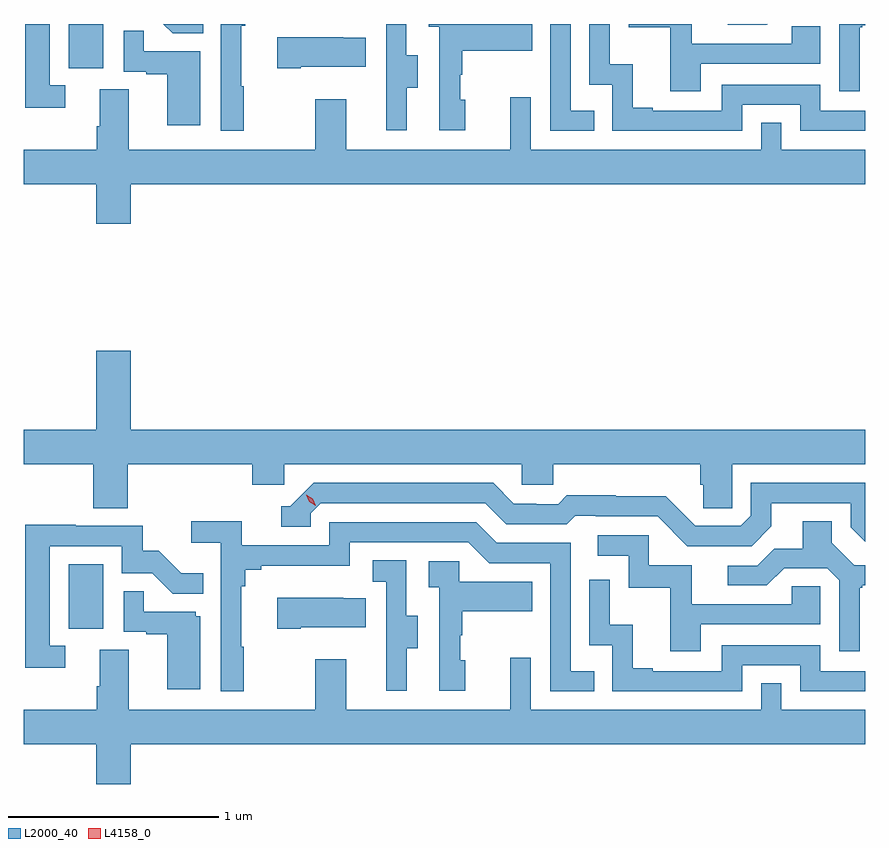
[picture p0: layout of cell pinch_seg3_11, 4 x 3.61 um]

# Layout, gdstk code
import gdstk
lib = gdstk.Library(unit=1e-6, precision=1e-09)
def R(c, l, rs):  # rectangles x0, y0, x1, y1
    for r in rs: c.add(gdstk.rectangle(r[:2], r[2:], *l))
def P(c, l, *ps):  # polygons
    for p in ps: c.add(gdstk.Polygon(p, *l))
L2000_40 = (2000, 40)
L4158_0 = (4158, 0)

pinch_seg3_11 = lib.new_cell('pinch_seg3_11')
R(pinch_seg3_11, L2000_40, [(1141.898,740.094,1142.062,740.401), (1141.898,742.758,1142.062,742.969)])
P(pinch_seg3_11, L2000_40, [(1145.1,742.584),(1145.376,742.584),(1145.376,742.461),(1145.685,742.461),(1145.685,742.557),(1145.472,742.557),(1145.472,742.68),(1145.004,742.68),(1145.004,742.557),(1144.675,742.557),(1144.675,742.57),(1144.58,742.57),(1144.58,742.778),(1144.47,742.778),(1144.47,742.969),(1144.374,742.969),(1144.374,742.68),(1144.482,742.68),(1144.482,742.461),(1145.1,742.461)],
  [(1145.222,742.969),(1145.031,742.969),(1145.031,742.965),(1145.218,742.965)],
  [(1145.659,742.953),(1145.671,742.953),(1145.671,742.964),(1145.685,742.964),(1145.685,742.969),(1145.562,742.969),(1145.562,742.65),(1145.659,742.65)],
  [(1143.784,742.608),(1143.759,742.608),(1143.759,742.727),(1143.769,742.727),(1143.769,742.841),(1144.103,742.841),(1144.103,742.969),(1143.609,742.969),(1143.609,742.955),(1143.66,742.955),(1143.66,742.464),(1143.784,742.464)],
  [(1143.505,742.666),(1143.559,742.666),(1143.559,742.821),(1143.504,742.821),(1143.504,742.969),(1143.408,742.969),(1143.408,742.677),(1143.407,742.677),(1143.407,742.464),(1143.505,742.464)],
  [(1144.903,742.779),(1145.472,742.779),(1145.472,742.959),(1145.335,742.959),(1145.335,742.875),(1144.861,742.875),(1144.861,742.969),(1144.56,742.969),(1144.56,742.953),(1144.759,742.953),(1144.759,742.65),(1144.903,742.65)],
  [(1142.537,742.969),(1142.348,742.969),(1142.393,742.924),(1142.537,742.924)],
  [(1141.882,742.677),(1141.809,742.677),(1141.809,742.969),(1141.693,742.969),(1141.693,742.572),(1141.882,742.572)],
  [(1144.397,742.557),(1144.284,742.557),(1144.284,742.969),(1144.188,742.969),(1144.188,742.461),(1144.397,742.461)],
  [(1142.731,742.673),(1142.719,742.673),(1142.719,742.961),(1142.738,742.961),(1142.738,742.969),(1142.622,742.969),(1142.622,742.461),(1142.731,742.461)],
  [(1142.524,742.839),(1142.255,742.839),(1142.255,742.937),(1142.16,742.937),(1142.16,742.743),(1142.267,742.743),(1142.267,742.731),(1142.366,742.731),(1142.366,742.488),(1142.524,742.488)],
  [(1143.001,742.766),(1143.311,742.766),(1143.311,742.903),(1143.203,742.903),(1143.203,742.906),(1142.889,742.906),(1142.889,742.759),(1143.001,742.759)],
  [(1142.194,742.208),(1145.685,742.208),(1145.685,742.372),(1145.286,742.372),(1145.286,742.499),(1145.19,742.499),(1145.19,742.372),(1144.095,742.372),(1144.095,742.621),(1143.998,742.621),(1143.998,742.372),(1143.217,742.372),(1143.217,742.612),(1143.07,742.612),(1143.07,742.372),(1142.185,742.372),(1142.185,742.658),(1142.045,742.658),(1142.045,742.484),(1142.033,742.484),(1142.033,742.372),(1141.685,742.372),(1141.685,742.208),(1142.03,742.208),(1142.03,742.02),(1142.194,742.02)],
  [(1142.18,740.876),(1142.771,740.876),(1142.771,740.778),(1142.922,740.778),(1142.922,740.876),(1144.053,740.876),(1144.053,740.778),(1144.203,740.778),(1144.203,740.876),(1144.901,740.876),(1144.901,740.778),(1144.915,740.778),(1144.915,740.668),(1145.052,740.668),(1145.052,740.876),(1145.685,740.876),(1145.685,741.04),(1142.194,741.04),(1142.194,741.415),(1142.03,741.415),(1142.03,741.04),(1141.685,741.04),(1141.685,740.876),(1142.015,740.876),(1142.015,740.668),(1142.18,740.668)],
  [(1145.239,740.581),(1145.239,740.691),(1145.616,740.691),(1145.616,740.577),(1145.685,740.508),(1145.685,740.787),(1145.142,740.787),(1145.142,740.631),(1145.094,740.583),(1144.878,740.583),(1144.736,740.725),(1144.5,740.725),(1144.5,740.728),(1144.267,740.728),(1144.225,740.685),(1144.122,740.685),(1144.122,740.688),(1144.015,740.688),(1143.916,740.787),(1143.063,740.787),(1142.952,740.676),(1142.909,740.676),(1142.909,740.58),(1143.048,740.58),(1143.048,740.643),(1143.096,740.691),(1143.879,740.691),(1143.978,740.592),(1144.267,740.592),(1144.306,740.631),(1144.405,740.631),(1144.405,740.628),(1144.698,740.628),(1144.839,740.487),(1145.145,740.487)],
  [(1145.659,740.289),(1145.671,740.289),(1145.671,740.3),(1145.685,740.3),(1145.685,740.397),(1145.634,740.397),(1145.527,740.504),(1145.527,740.606),(1145.387,740.606),(1145.387,740.474),(1145.252,740.474),(1145.172,740.394),(1145.031,740.394),(1145.031,740.301),(1145.218,740.301),(1145.299,740.382),(1145.505,740.382),(1145.562,740.325),(1145.562,739.986),(1145.659,739.986)],
  [(1142.731,740.009),(1142.719,740.009),(1142.719,740.297),(1142.738,740.297),(1142.738,740.374),(1142.815,740.374),(1142.815,740.393),(1143.234,740.393),(1143.234,740.505),(1143.798,740.505),(1143.897,740.406),(1144.188,740.406),(1144.188,739.797),(1144.397,739.797),(1144.397,739.893),(1144.284,739.893),(1144.284,740.502),(1143.934,740.502),(1143.835,740.601),(1143.138,740.601),(1143.138,740.49),(1142.72,740.49),(1142.72,740.606),(1142.481,740.606),(1142.481,740.504),(1142.622,740.504),(1142.622,739.797),(1142.731,739.797)],
  [(1141.882,740.013),(1141.809,740.013),(1141.809,740.487),(1142.151,740.487),(1142.151,740.358),(1142.295,740.358),(1142.393,740.26),(1142.537,740.26),(1142.537,740.359),(1142.433,740.359),(1142.326,740.466),(1142.25,740.466),(1142.25,740.583),(1141.931,740.583),(1141.931,740.588),(1141.693,740.588),(1141.693,739.908),(1141.882,739.908)],
  [(1144.903,740.115),(1145.472,740.115),(1145.472,740.295),(1145.335,740.295),(1145.335,740.211),(1144.861,740.211),(1144.861,740.397),(1144.656,740.397),(1144.656,740.538),(1144.413,740.538),(1144.413,740.442),(1144.56,740.442),(1144.56,740.289),(1144.759,740.289),(1144.759,739.986),(1144.903,739.986)],
  [(1143.505,740.002),(1143.559,740.002),(1143.559,740.157),(1143.504,740.157),(1143.504,740.42),(1143.345,740.42),(1143.345,740.317),(1143.408,740.317),(1143.408,740.013),(1143.407,740.013),(1143.407,739.8),(1143.505,739.8)],
  [(1143.784,739.944),(1143.759,739.944),(1143.759,740.063),(1143.769,740.063),(1143.769,740.177),(1144.103,740.177),(1144.103,740.317),(1143.756,740.317),(1143.756,740.415),(1143.609,740.415),(1143.609,740.291),(1143.66,740.291),(1143.66,739.8),(1143.784,739.8)],
  [(1145.1,739.92),(1145.376,739.92),(1145.376,739.797),(1145.685,739.797),(1145.685,739.893),(1145.472,739.893),(1145.472,740.016),(1145.004,740.016),(1145.004,739.893),(1144.675,739.893),(1144.675,739.906),(1144.58,739.906),(1144.58,740.114),(1144.47,740.114),(1144.47,740.326),(1144.374,740.326),(1144.374,740.016),(1144.482,740.016),(1144.482,739.797),(1145.1,739.797)],
  [(1142.524,740.154),(1142.502,740.154),(1142.502,740.175),(1142.255,740.175),(1142.255,740.273),(1142.16,740.273),(1142.16,740.079),(1142.267,740.079),(1142.267,740.067),(1142.366,740.067),(1142.366,739.806),(1142.524,739.806)],
  [(1143.001,740.102),(1143.311,740.102),(1143.311,740.239),(1143.203,740.239),(1143.203,740.242),(1142.889,740.242),(1142.889,740.095),(1143.001,740.095)],
  [(1142.194,739.544),(1145.685,739.544),(1145.685,739.708),(1145.286,739.708),(1145.286,739.835),(1145.19,739.835),(1145.19,739.708),(1144.095,739.708),(1144.095,739.957),(1143.998,739.957),(1143.998,739.708),(1143.217,739.708),(1143.217,739.948),(1143.07,739.948),(1143.07,739.708),(1142.185,739.708),(1142.185,739.994),(1142.045,739.994),(1142.045,739.82),(1142.033,739.82),(1142.033,739.708),(1141.685,739.708),(1141.685,739.544),(1142.03,739.544),(1142.03,739.356),(1142.194,739.356)])
P(pinch_seg3_11, L4158_0, [(1143.074,740.678),(1143.043,740.698),(1143.027,740.731),(1143.027,740.731),(1143.027,740.731),(1143.058,740.711),(1143.074,740.679),(1143.074,740.678)])

lib.write_gds('pinch_seg3_11.gds')
